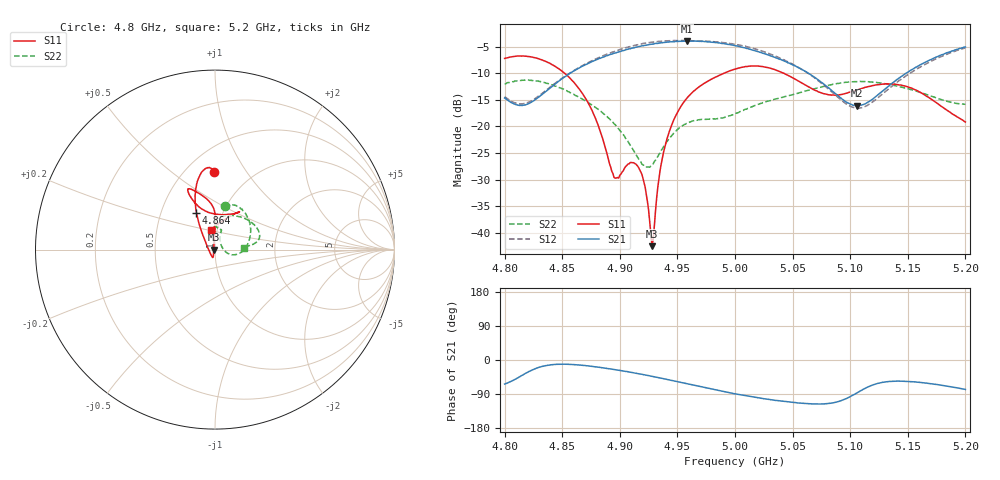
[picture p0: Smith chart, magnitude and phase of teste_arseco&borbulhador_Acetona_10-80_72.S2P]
! Network Analyzer HP8722D
! Hewlett-Packard
! Data name: Linha & Wilkinson
! Saver's name: Rodrigo Anjos
! Comments: Teste da utilização de aquisição
! continua pelo VNA HP8722D
! Time and date: 25/4/2025 15:52
!  Frequency  S11  S21  S12  S22
# HZ  S  MA R 50
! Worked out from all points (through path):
!   401 points, 4.8 GHz to 5.2 GHz, reference 50 ohm
!   highest |S21| = -3.96 dB at 4.958 GHz (marker M1); lowest = -16.1 dB at 5.106 GHz (marker M2)
!   lowest |S11| = -42.5 dB at 4.928 GHz (marker M3), VSWR 1.02, Z = 49.3 - j0.128 ohm
!   |S11| at or under -10 dB: 4.852 GHz to 4.991 GHz (138.6 MHz wide, 2.82 % of centre); 5.042 GHz to end of sweep
!   |S22| runs from -27.6 to -11.3 dB; largest |S21 - S12| = 1.2
!   S11 on the Smith chart (normalised r, x): 4.8 GHz: 0.68, +0.73; 4.864 GHz: 0.75, +0.33; 5.2 GHz: 0.94, +0.21
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4.8e9  0.4349 90.6  0.185 -63.5  0.1901 70.0  0.2503 76.8
4.82e9  0.453 96.8  0.1622 -32.1  0.1676 98.8  0.2724 61.5
4.844e9  0.3654 106.7  0.2515 -11.6  0.2545 119.1  0.2385 35.3
4.864e9  0.2309 116.6  0.3508 -13.0  0.354 121.0  0.1896 11.8
4.867e9  0.2081 118.3  0.3651 -14.0  0.3687 120.6  0.1817 8.3
4.88e9  0.1105 128.8  0.4242 -18.6  0.4343 118.2  0.1476 -5.4
4.895e9  0.03324 -172.3  0.4862 -25.0  0.503 113.7  0.1061 -15.6
4.909e9  0.04579 -107.3  0.5357 -32.1  0.5615 107.6  0.0668 -14.2
4.917e9  0.03974 -103.8  0.563 -36.6  0.5906 103.3  0.04812 -0.7
4.922e9  0.02694 -107.7  0.5766 -39.4  0.6043 100.6  0.04164 16.5
4.928e9  0.007523 -170.1  0.5921 -43.2  0.6178 96.9  0.04392 41.3
4.93e9  0.01168 125.7  0.5975 -44.4  0.6206 95.6  0.04699 48.3
4.934e9  0.03262 100.5  0.6052 -47.0  0.6299 93.2  0.05478 58.4
4.943e9  0.08991 91.0  0.6196 -52.6  0.6374 87.3  0.07763 68.9
4.958e9  0.1828 89.3  0.6339 -62.5  0.6396 77.9  0.107 71.3
5e9  0.3452 109.0  0.5723 -89.2  0.5915 50.7  0.1322 88.6
5.03e9  0.3532 115.1  0.4632 -104.4  0.4802 33.7  0.1742 85.2
5.067e9  0.2256 105.1  0.2997 -115.9  0.297 23.6  0.2225 57.0
5.106e9  0.2197 64.5  0.1566 -86.6  0.1483 56.4  0.2632 24.7
5.134e9  0.2504 57.1  0.242 -56.6  0.2279 88.7  0.2477 12.3
5.168e9  0.1877 69.1  0.4149 -61.9  0.3976 85.1  0.1961 6.9
5.2e9  0.1102 100.6  0.5567 -77.7  0.5457 70.0  0.1612 3.7
